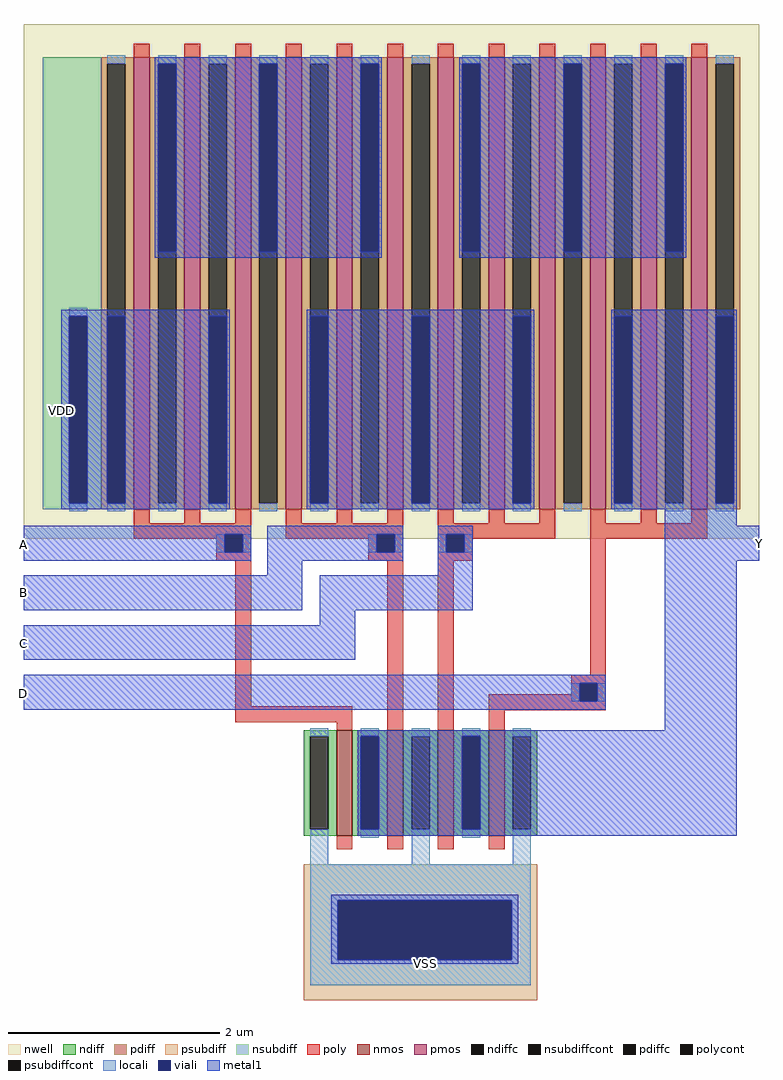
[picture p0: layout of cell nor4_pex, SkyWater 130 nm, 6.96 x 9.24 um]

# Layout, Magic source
magic
tech sky130B
magscale 1 2
<< nwell >>
rect -602 991 790 1966
<< nmos >>
rect -10 429 20 629
rect 86 429 116 629
rect 182 429 212 629
rect 278 429 308 629
<< pmos >>
rect -394 1047 -364 1903
rect -298 1047 -268 1903
rect -202 1047 -172 1903
rect -106 1047 -76 1903
rect -10 1047 20 1903
rect 86 1047 116 1903
rect 182 1047 212 1903
rect 278 1047 308 1903
rect 374 1047 404 1903
rect 470 1047 500 1903
rect 566 1047 596 1903
rect 662 1047 692 1903
<< ndiff >>
rect -72 617 -10 629
rect -72 441 -60 617
rect -26 441 -10 617
rect -72 429 -10 441
rect 20 617 86 629
rect 20 441 36 617
rect 70 441 86 617
rect 20 429 86 441
rect 116 617 182 629
rect 116 441 132 617
rect 166 441 182 617
rect 116 429 182 441
rect 212 617 278 629
rect 212 441 228 617
rect 262 441 278 617
rect 212 429 278 441
rect 308 617 370 629
rect 308 441 324 617
rect 358 441 370 617
rect 308 429 370 441
<< pdiff >>
rect -456 1891 -394 1903
rect -456 1059 -444 1891
rect -410 1059 -394 1891
rect -456 1047 -394 1059
rect -364 1891 -298 1903
rect -364 1059 -348 1891
rect -314 1059 -298 1891
rect -364 1047 -298 1059
rect -268 1891 -202 1903
rect -268 1059 -252 1891
rect -218 1059 -202 1891
rect -268 1047 -202 1059
rect -172 1891 -106 1903
rect -172 1059 -156 1891
rect -122 1059 -106 1891
rect -172 1047 -106 1059
rect -76 1891 -10 1903
rect -76 1059 -60 1891
rect -26 1059 -10 1891
rect -76 1047 -10 1059
rect 20 1891 86 1903
rect 20 1059 36 1891
rect 70 1059 86 1891
rect 20 1047 86 1059
rect 116 1891 182 1903
rect 116 1059 132 1891
rect 166 1059 182 1891
rect 116 1047 182 1059
rect 212 1891 278 1903
rect 212 1059 228 1891
rect 262 1059 278 1891
rect 212 1047 278 1059
rect 308 1891 374 1903
rect 308 1059 324 1891
rect 358 1059 374 1891
rect 308 1047 374 1059
rect 404 1891 470 1903
rect 404 1059 420 1891
rect 454 1059 470 1891
rect 404 1047 470 1059
rect 500 1891 566 1903
rect 500 1059 516 1891
rect 550 1059 566 1891
rect 500 1047 566 1059
rect 596 1891 662 1903
rect 596 1059 612 1891
rect 646 1059 662 1891
rect 596 1047 662 1059
rect 692 1891 754 1903
rect 692 1059 708 1891
rect 742 1059 754 1891
rect 692 1047 754 1059
<< ndiffc >>
rect -60 441 -26 617
rect 36 441 70 617
rect 132 441 166 617
rect 228 441 262 617
rect 324 441 358 617
<< pdiffc >>
rect -444 1059 -410 1891
rect -348 1059 -314 1891
rect -252 1059 -218 1891
rect -156 1059 -122 1891
rect -60 1059 -26 1891
rect 36 1059 70 1891
rect 132 1059 166 1891
rect 228 1059 262 1891
rect 324 1059 358 1891
rect 420 1059 454 1891
rect 516 1059 550 1891
rect 612 1059 646 1891
rect 708 1059 742 1891
<< psubdiff >>
rect -72 307 370 375
rect -72 194 -8 307
rect 322 194 370 307
rect -72 118 370 194
<< nsubdiff >>
rect -566 1413 -456 1903
rect -566 1059 -516 1413
rect -482 1059 -456 1413
rect -566 1047 -456 1059
<< psubdiffcont >>
rect -8 194 322 307
<< nsubdiffcont >>
rect -516 1059 -482 1413
<< poly >>
rect -394 1903 -364 1929
rect -298 1903 -268 1929
rect -202 1903 -172 1929
rect -106 1903 -76 1929
rect -10 1903 20 1929
rect 86 1903 116 1929
rect 182 1903 212 1929
rect 278 1903 308 1929
rect 374 1903 404 1929
rect 470 1903 500 1929
rect 566 1903 596 1929
rect 662 1903 692 1929
rect -394 1021 -364 1047
rect -298 1021 -268 1047
rect -202 1021 -172 1047
rect -394 1000 -172 1021
rect -394 991 -222 1000
rect -238 966 -222 991
rect -188 966 -172 1000
rect -106 1021 -76 1047
rect -10 1021 20 1047
rect 86 1021 116 1047
rect -106 1000 116 1021
rect -106 991 66 1000
rect -238 950 -172 966
rect 50 966 66 991
rect 100 966 116 1000
rect 50 950 116 966
rect -202 674 -172 950
rect -202 644 20 674
rect -10 629 20 644
rect 86 629 116 950
rect 182 1021 212 1047
rect 278 1021 308 1047
rect 374 1021 404 1047
rect 182 1000 404 1021
rect 182 966 198 1000
rect 232 991 404 1000
rect 470 1021 500 1047
rect 566 1021 596 1047
rect 662 1021 692 1047
rect 470 991 692 1021
rect 232 966 248 991
rect 182 950 248 966
rect 182 629 212 950
rect 470 734 500 991
rect 434 718 500 734
rect 434 697 450 718
rect 278 684 450 697
rect 484 684 500 718
rect 278 667 500 684
rect 278 629 308 667
rect -10 403 20 429
rect 86 403 116 429
rect 182 403 212 429
rect 278 403 308 429
<< polycont >>
rect -222 966 -188 1000
rect 66 966 100 1000
rect 198 966 232 1000
rect 450 684 484 718
<< locali >>
rect -444 1891 -410 1907
rect -516 1413 -482 1429
rect -516 1043 -482 1059
rect -444 1043 -410 1059
rect -348 1891 -314 1907
rect -348 1043 -314 1059
rect -252 1891 -218 1907
rect -252 1043 -218 1059
rect -156 1891 -122 1907
rect -156 1043 -122 1059
rect -60 1891 -26 1907
rect -60 1043 -26 1059
rect 36 1891 70 1907
rect 36 1043 70 1059
rect 132 1891 166 1907
rect 132 1043 166 1059
rect 228 1891 262 1907
rect 228 1043 262 1059
rect 324 1891 358 1907
rect 324 1043 358 1059
rect 420 1891 454 1907
rect 420 1043 454 1059
rect 516 1891 550 1907
rect 516 1043 550 1059
rect 612 1891 646 1907
rect 612 1043 646 1059
rect 708 1891 742 1907
rect 708 1043 742 1059
rect -238 966 -222 1000
rect -188 966 -172 1000
rect 50 966 66 1000
rect 100 966 116 1000
rect 182 966 198 1000
rect 232 966 248 1000
rect 434 684 450 718
rect 484 684 500 718
rect -60 617 -26 633
rect -60 375 -26 441
rect 36 617 70 633
rect 36 425 70 441
rect 132 617 166 633
rect 132 375 166 441
rect 228 617 262 633
rect 228 425 262 441
rect 324 617 358 633
rect 324 375 358 441
rect -60 307 358 375
rect -60 194 -8 307
rect 322 194 358 307
rect -60 146 358 194
<< viali >>
rect -516 1059 -482 1413
rect -444 1059 -410 1413
rect -348 1535 -314 1891
rect -252 1059 -218 1413
rect -156 1535 -122 1891
rect -60 1059 -26 1413
rect 36 1535 70 1891
rect 132 1059 166 1413
rect 228 1535 262 1891
rect 324 1059 358 1413
rect 420 1535 454 1891
rect 516 1059 550 1413
rect 612 1535 646 1891
rect 708 1059 742 1413
rect -222 966 -188 1000
rect 66 966 100 1000
rect 198 966 232 1000
rect 450 684 484 718
rect 36 441 70 617
rect 228 441 262 617
rect -8 194 322 307
<< metal1 >>
rect -354 1891 76 1903
rect -354 1535 -348 1891
rect -314 1535 -156 1891
rect -122 1535 36 1891
rect 70 1535 76 1891
rect -354 1523 76 1535
rect 222 1891 652 1903
rect 222 1535 228 1891
rect 262 1535 420 1891
rect 454 1535 612 1891
rect 646 1535 652 1891
rect 222 1523 652 1535
rect -531 1413 -212 1425
rect -531 1059 -516 1413
rect -482 1059 -444 1413
rect -410 1059 -252 1413
rect -218 1059 -212 1413
rect -531 1047 -212 1059
rect -66 1413 364 1425
rect -66 1059 -60 1413
rect -26 1059 132 1413
rect 166 1059 324 1413
rect 358 1059 364 1413
rect -66 1047 364 1059
rect 510 1413 748 1425
rect 510 1059 516 1413
rect 550 1059 708 1413
rect 742 1059 748 1413
rect 510 1047 748 1059
rect 611 1016 748 1047
rect -602 1000 -172 1016
rect -602 966 -222 1000
rect -188 966 -172 1000
rect -602 950 -172 966
rect -141 1000 116 1016
rect -141 966 66 1000
rect 100 966 116 1000
rect -141 950 116 966
rect 182 1000 248 1016
rect 182 966 198 1000
rect 232 966 248 1000
rect -141 922 -75 950
rect 182 922 248 966
rect -602 856 -75 922
rect -42 856 248 922
rect 611 950 790 1016
rect -42 828 25 856
rect -602 762 25 828
rect -602 718 500 734
rect -602 684 450 718
rect 484 684 500 718
rect -602 668 500 684
rect 611 629 748 950
rect 30 617 748 629
rect 30 441 36 617
rect 70 441 228 617
rect 262 441 748 617
rect 30 429 748 441
rect -20 307 334 317
rect -20 194 -8 307
rect 322 194 334 307
rect -20 187 334 194
<< labels >>
rlabel metal1 -602 981 -602 981 3 A
port 6 e
rlabel metal1 -602 889 -602 889 3 B
port 7 e
rlabel metal1 -602 793 -602 793 3 C
port 8 e
rlabel metal1 -602 698 -602 698 3 D
port 9 e
rlabel metal1 158 187 158 187 5 VSS
port 10 s
rlabel metal1 -531 1235 -531 1235 5 VDD
port 11 s
rlabel metal1 790 982 790 982 3 Y
port 12 e
<< end >>
